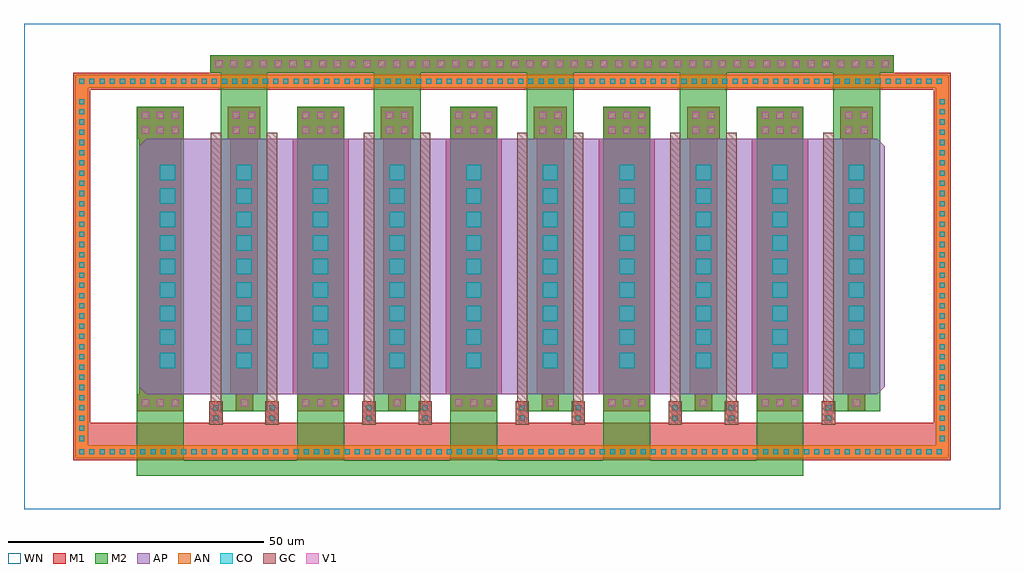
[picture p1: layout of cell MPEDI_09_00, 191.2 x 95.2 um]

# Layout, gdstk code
import gdstk
lib = gdstk.Library(unit=1e-6, precision=1e-09)
def R(c, l, rs):  # rectangles x0, y0, x1, y1
    for r in rs: c.add(gdstk.rectangle(r[:2], r[2:], *l))
def A(c, l, x, y, w, h, nx, ny, dx, dy):  # array of equal rectangles
    R(c, l, [(x+i*dx, y+j*dy, x+i*dx+w, y+j*dy+h) for i in range(nx) for j in range(ny)])
def P(c, l, *ps):  # polygons
    for p in ps: c.add(gdstk.Polygon(p, *l))
AP = (3, 1)
AN = (3, 2)
GC = (8, 1)
CO = (11, 0)
M1 = (13, 0)
V1 = (19, 0)
M2 = (20, 0)
WN = (140, 0)

wlmp_cdns_696587122383 = lib.new_cell('WLMP_CDNS_696587122383')
R(wlmp_cdns_696587122383, WN, [(1.5,1.5,192.7,96.7)])

sgct_cdns_696587122380 = lib.new_cell('SGCT_CDNS_696587122380')
R(sgct_cdns_696587122380, GC, [(-1.3,-2.3,1.3,2.3)])
R(sgct_cdns_696587122380, CO, [(-0.5,-1.5,0.5,-0.5), (-0.5,0.5,0.5,1.5)])
R(sgct_cdns_696587122380, M1, [(-1.3,-2.3,1.3,2.3)])

tc14_cdns_696587122381 = lib.new_cell('TC14_CDNS_696587122381')
R(tc14_cdns_696587122381, M1, [(-4.6,-1.7,4.6,1.7)])
A(tc14_cdns_696587122381, V1, -3.6, -0.7, 1.4, 1.4, 3, 1, 2.9, 0)
R(tc14_cdns_696587122381, M2, [(-4.6,-1.7,4.6,1.7)])

tc14_cdns_696587122382 = lib.new_cell('TC14_CDNS_696587122382')
R(tc14_cdns_696587122382, M1, [(-4.6,-3.1,4.6,3.2)])
A(tc14_cdns_696587122382, V1, -3.6, -2.1, 1.4, 1.4, 3, 2, 2.9, 2.9)
R(tc14_cdns_696587122382, M2, [(-4.6,-3.1,4.6,3.2)])

tc14_cdns_696587122383 = lib.new_cell('TC14_CDNS_696587122383')
R(tc14_cdns_696587122383, M1, [(-1.7,-3.1,1.7,3.2)])
R(tc14_cdns_696587122383, V1, [(-0.7,-2.1,0.7,-0.7), (-0.7,0.8,0.7,2.2)])
R(tc14_cdns_696587122383, M2, [(-1.7,-3.1,1.7,3.2)])

tc14_cdns_696587122384 = lib.new_cell('TC14_CDNS_696587122384')
R(tc14_cdns_696587122384, M1, [(-1.7,-1.7,1.7,1.7)])
R(tc14_cdns_696587122384, V1, [(-0.7,-0.7,0.7,0.7)])
R(tc14_cdns_696587122384, M2, [(-1.7,-1.7,1.7,1.7)])

tc14_cdns_696587122385 = lib.new_cell('TC14_CDNS_696587122385')
R(tc14_cdns_696587122385, M1, [(-66.9,-1.7,67,1.7)])
A(tc14_cdns_696587122385, V1, -65.9, -0.7, 1.4, 1.4, 46, 1, 2.9, 0)
R(tc14_cdns_696587122385, M2, [(-66.9,-1.7,67,1.7)])

mpedi_09_00 = lib.new_cell('MPEDI_09_00')
P(mpedi_09_00, AP, [(25.5,24.1),(24.1,25.5),(24.1,72.7),(25.5,74.1),(168.7,74.1),(170.1,72.7),(170.1,25.5),(168.7,24.1)])
P(mpedi_09_00, AN, [(11.5,11.5),(11.5,84.1),(14.1,84.1),(14.1,14.1),(180.1,14.1),(180.1,84.1),(11.5,84.1),(11.5,86.7),(182.7,86.7),(182.7,11.5)],
  [(11.5,11.5),(11.5,84.1),(14.1,84.1),(14.1,14.1),(180.1,14.1),(180.1,84.1),(11.5,84.1),(11.5,86.7),(182.7,86.7),(182.7,11.5)])
R(mpedi_09_00, GC, [(38.1,22.7,40.1,75.3), (49.1,22.7,51.1,75.3), (68.1,22.7,70.1,75.3), (79.1,22.7,81.1,75.3), (98.1,22.7,100.1,75.3), (109.1,22.7,111.1,75.3), (128.1,22.7,130.1,75.3), (139.1,22.7,141.1,75.3), (158.1,22.7,160.1,75.3)])
A(mpedi_09_00, CO, 12.3, 12.3, 1, 1, 85, 2, 2, 72.6)
A(mpedi_09_00, CO, 12.3, 14.9, 1, 1, 1, 34, 0, 2)
A(mpedi_09_00, CO, 180.9, 14.9, 1, 1, 1, 34, 0, 2)
A(mpedi_09_00, CO, 28.1, 29.2, 3, 3, 1, 9, 0, 4.6)
A(mpedi_09_00, CO, 163.1, 29.2, 3, 3, 1, 9, 0, 4.6)
R(mpedi_09_00, CO, [(43.1,29.2,46.1,32.2), (43.1,29.2,46.1,32.2), (58.1,29.2,61.1,32.2), (58.1,29.2,61.1,32.2), (73.1,29.2,76.1,32.2), (73.1,29.2,76.1,32.2), (88.1,29.2,91.1,32.2), (88.1,29.2,91.1,32.2), (103.1,29.2,106.1,32.2), (103.1,29.2,106.1,32.2), (118.1,29.2,121.1,32.2), (118.1,29.2,121.1,32.2), (133.1,29.2,136.1,32.2), (133.1,29.2,136.1,32.2), (148.1,29.2,151.1,32.2), (148.1,29.2,151.1,32.2), (43.1,33.8,46.1,36.8), (43.1,33.8,46.1,36.8), (58.1,33.8,61.1,36.8), (58.1,33.8,61.1,36.8), (73.1,33.8,76.1,36.8), (73.1,33.8,76.1,36.8), (88.1,33.8,91.1,36.8), (88.1,33.8,91.1,36.8), (103.1,33.8,106.1,36.8), (103.1,33.8,106.1,36.8), (118.1,33.8,121.1,36.8), (118.1,33.8,121.1,36.8), (133.1,33.8,136.1,36.8), (133.1,33.8,136.1,36.8), (148.1,33.8,151.1,36.8), (148.1,33.8,151.1,36.8), (43.1,38.4,46.1,41.4), (43.1,38.4,46.1,41.4), (58.1,38.4,61.1,41.4), (58.1,38.4,61.1,41.4), (73.1,38.4,76.1,41.4), (73.1,38.4,76.1,41.4), (88.1,38.4,91.1,41.4), (88.1,38.4,91.1,41.4), (103.1,38.4,106.1,41.4), (103.1,38.4,106.1,41.4), (118.1,38.4,121.1,41.4), (118.1,38.4,121.1,41.4), (133.1,38.4,136.1,41.4), (133.1,38.4,136.1,41.4), (148.1,38.4,151.1,41.4), (148.1,38.4,151.1,41.4), (43.1,43,46.1,46), (43.1,43,46.1,46), (58.1,43,61.1,46), (58.1,43,61.1,46), (73.1,43,76.1,46), (73.1,43,76.1,46), (88.1,43,91.1,46), (88.1,43,91.1,46), (103.1,43,106.1,46), (103.1,43,106.1,46), (118.1,43,121.1,46), (118.1,43,121.1,46), (133.1,43,136.1,46), (133.1,43,136.1,46), (148.1,43,151.1,46), (148.1,43,151.1,46), (43.1,47.6,46.1,50.6), (43.1,47.6,46.1,50.6), (58.1,47.6,61.1,50.6), (58.1,47.6,61.1,50.6), (73.1,47.6,76.1,50.6), (73.1,47.6,76.1,50.6), (88.1,47.6,91.1,50.6), (88.1,47.6,91.1,50.6), (103.1,47.6,106.1,50.6), (103.1,47.6,106.1,50.6), (118.1,47.6,121.1,50.6), (118.1,47.6,121.1,50.6), (133.1,47.6,136.1,50.6), (133.1,47.6,136.1,50.6), (148.1,47.6,151.1,50.6), (148.1,47.6,151.1,50.6), (43.1,52.2,46.1,55.2), (43.1,52.2,46.1,55.2), (58.1,52.2,61.1,55.2), (58.1,52.2,61.1,55.2), (73.1,52.2,76.1,55.2), (73.1,52.2,76.1,55.2), (88.1,52.2,91.1,55.2), (88.1,52.2,91.1,55.2), (103.1,52.2,106.1,55.2), (103.1,52.2,106.1,55.2), (118.1,52.2,121.1,55.2), (118.1,52.2,121.1,55.2), (133.1,52.2,136.1,55.2), (133.1,52.2,136.1,55.2), (148.1,52.2,151.1,55.2), (148.1,52.2,151.1,55.2), (43.1,56.8,46.1,59.8), (43.1,56.8,46.1,59.8), (58.1,56.8,61.1,59.8), (58.1,56.8,61.1,59.8), (73.1,56.8,76.1,59.8), (73.1,56.8,76.1,59.8), (88.1,56.8,91.1,59.8), (88.1,56.8,91.1,59.8), (103.1,56.8,106.1,59.8), (103.1,56.8,106.1,59.8), (118.1,56.8,121.1,59.8), (118.1,56.8,121.1,59.8), (133.1,56.8,136.1,59.8), (133.1,56.8,136.1,59.8), (148.1,56.8,151.1,59.8), (148.1,56.8,151.1,59.8), (43.1,61.4,46.1,64.4), (43.1,61.4,46.1,64.4), (58.1,61.4,61.1,64.4), (58.1,61.4,61.1,64.4), (73.1,61.4,76.1,64.4), (73.1,61.4,76.1,64.4), (88.1,61.4,91.1,64.4), (88.1,61.4,91.1,64.4), (103.1,61.4,106.1,64.4), (103.1,61.4,106.1,64.4), (118.1,61.4,121.1,64.4), (118.1,61.4,121.1,64.4), (133.1,61.4,136.1,64.4), (133.1,61.4,136.1,64.4), (148.1,61.4,151.1,64.4), (148.1,61.4,151.1,64.4), (43.1,66,46.1,69), (43.1,66,46.1,69), (58.1,66,61.1,69), (58.1,66,61.1,69), (73.1,66,76.1,69), (73.1,66,76.1,69), (88.1,66,91.1,69), (88.1,66,91.1,69), (103.1,66,106.1,69), (103.1,66,106.1,69), (118.1,66,121.1,69), (118.1,66,121.1,69), (133.1,66,136.1,69), (133.1,66,136.1,69), (148.1,66,151.1,69), (148.1,66,151.1,69)])
R(mpedi_09_00, M1, [(11.5,11.5,182.7,14.1), (11.5,14.1,14.1,84.1), (14.1,14.1,180.1,18.5), (180.1,14.1,182.7,84.1), (24.1,24.1,32.3,74.1), (41.9,24.1,47.3,74.1), (41.9,24.1,47.3,74.1), (54.1,24.1,62.3,74.1), (56.9,24.1,65.1,74.1), (71.9,24.1,77.3,74.1), (71.9,24.1,77.3,74.1), (84.1,24.1,92.3,74.1), (86.9,24.1,95.1,74.1), (101.9,24.1,107.3,74.1), (101.9,24.1,107.3,74.1), (114.1,24.1,122.3,74.1), (116.9,24.1,125.1,74.1), (131.9,24.1,137.3,74.1), (131.9,24.1,137.3,74.1), (144.1,24.1,152.3,74.1), (146.9,24.1,155.1,74.1), (161.9,24.1,167.3,74.1), (11.5,84.1,182.7,86.7)])
A(mpedi_09_00, M2, 55, 8.1, 9.2, 72.3, 4, 1, 30, 0)
A(mpedi_09_00, M2, 40, 20.7, 9.2, 69.8, 5, 1, 30, 0)
R(mpedi_09_00, M2, [(23.6,8.1,32.8,80.4), (23.6,8.1,25,9.5), (38,89.1,39.4,90.5)])
mpedi_09_00.add(gdstk.FlexPath([(11.1,12.8),(183.1,12.8)], 3.4, ends="flush", simple_path=True, layer=13, datatype=0))  # M1
mpedi_09_00.add(gdstk.FlexPath([(11.1,85.4),(183.1,85.4)], 3.4, ends="flush", simple_path=True, layer=13, datatype=0))  # M1
mpedi_09_00.add(gdstk.FlexPath([(12.8,11.1),(12.8,87.1)], 3.4, ends="flush", simple_path=True, layer=13, datatype=0))  # M1
mpedi_09_00.add(gdstk.FlexPath([(181.4,11.1),(181.4,87.1)], 3.4, ends="flush", simple_path=True, layer=13, datatype=0))  # M1
mpedi_09_00.add(gdstk.FlexPath([(154.2,9.6),(23.6,9.6)], 3, ends="flush", simple_path=True, layer=20, datatype=0))  # M2
mpedi_09_00.add(gdstk.Reference(wlmp_cdns_696587122383, (0,0)))
mpedi_09_00.add(gdstk.Reference(sgct_cdns_696587122380, (159.1,20.4)))
mpedi_09_00.add(gdstk.Reference(sgct_cdns_696587122380, (140.1,20.4)))
mpedi_09_00.add(gdstk.Reference(sgct_cdns_696587122380, (129.1,20.4)))
mpedi_09_00.add(gdstk.Reference(sgct_cdns_696587122380, (110.1,20.4)))
mpedi_09_00.add(gdstk.Reference(sgct_cdns_696587122380, (99.1,20.4)))
mpedi_09_00.add(gdstk.Reference(sgct_cdns_696587122380, (80.1,20.4)))
mpedi_09_00.add(gdstk.Reference(sgct_cdns_696587122380, (69.1,20.4)))
mpedi_09_00.add(gdstk.Reference(sgct_cdns_696587122380, (50.1,20.4)))
mpedi_09_00.add(gdstk.Reference(sgct_cdns_696587122380, (39.1,20.4)))
mpedi_09_00.add(gdstk.Reference(tc14_cdns_696587122381, (149.6,22.4)))
mpedi_09_00.add(gdstk.Reference(tc14_cdns_696587122381, (119.6,22.4)))
mpedi_09_00.add(gdstk.Reference(tc14_cdns_696587122381, (89.6,22.4)))
mpedi_09_00.add(gdstk.Reference(tc14_cdns_696587122381, (59.6,22.4)))
mpedi_09_00.add(gdstk.Reference(tc14_cdns_696587122381, (28.2,22.4)))
mpedi_09_00.add(gdstk.Reference(tc14_cdns_696587122382, (149.6,77.2)))
mpedi_09_00.add(gdstk.Reference(tc14_cdns_696587122382, (119.6,77.2)))
mpedi_09_00.add(gdstk.Reference(tc14_cdns_696587122382, (89.6,77.2)))
mpedi_09_00.add(gdstk.Reference(tc14_cdns_696587122382, (59.6,77.2)))
mpedi_09_00.add(gdstk.Reference(tc14_cdns_696587122382, (28.2,77.2)))
mpedi_09_00.add(gdstk.Reference(tc14_cdns_696587122383, (166.1,77.2)))
mpedi_09_00.add(gdstk.Reference(tc14_cdns_696587122383, (163.1,77.2)))
mpedi_09_00.add(gdstk.Reference(tc14_cdns_696587122383, (136.1,77.2)))
mpedi_09_00.add(gdstk.Reference(tc14_cdns_696587122383, (133.1,77.2)))
mpedi_09_00.add(gdstk.Reference(tc14_cdns_696587122383, (106.1,77.2)))
mpedi_09_00.add(gdstk.Reference(tc14_cdns_696587122383, (103.1,77.2)))
mpedi_09_00.add(gdstk.Reference(tc14_cdns_696587122383, (76.1,77.2)))
mpedi_09_00.add(gdstk.Reference(tc14_cdns_696587122383, (73.1,77.2)))
mpedi_09_00.add(gdstk.Reference(tc14_cdns_696587122383, (46.1,77.2)))
mpedi_09_00.add(gdstk.Reference(tc14_cdns_696587122383, (43.1,77.2)))
mpedi_09_00.add(gdstk.Reference(tc14_cdns_696587122384, (164.6,22.4)))
mpedi_09_00.add(gdstk.Reference(tc14_cdns_696587122384, (134.6,22.4)))
mpedi_09_00.add(gdstk.Reference(tc14_cdns_696587122384, (104.6,22.4)))
mpedi_09_00.add(gdstk.Reference(tc14_cdns_696587122384, (74.6,22.4)))
mpedi_09_00.add(gdstk.Reference(tc14_cdns_696587122384, (44.7,22.4)))
mpedi_09_00.add(gdstk.Reference(tc14_cdns_696587122385, (104.9,88.8)))

lib.write_gds('MPEDI_09_00.gds')
